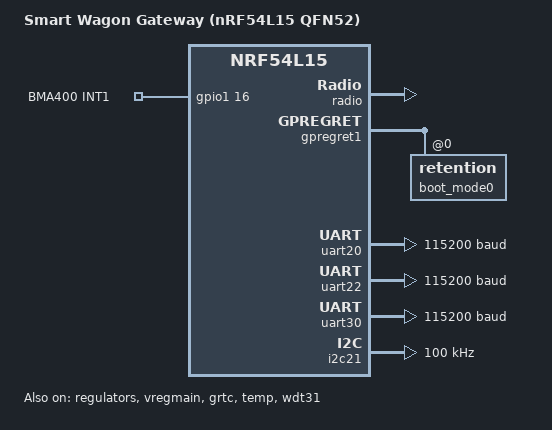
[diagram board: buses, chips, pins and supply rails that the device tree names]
/*
 * Smart Wagon Gateway - nRF54L15 (QFN52) custom board.
 *
 * This board is NOT the nRF54L15 DK. Building against the DK target used to
 * pull in board files that actively fight this hardware:
 *
 *   - mx25r6435f@0 sat on chip-select 0 (the same CS as the W25Q128) and
 *     carried reset-gpios = <&gpio2 0>. On this board P2.00 is SW_AXI, the
 *     BMA400 power rail that RDSO s7.3 requires to stay up - so every boot
 *     pulsed the accelerometer rail via a driver for a flash chip that is not
 *     fitted.
 *   - led0..3 and button0..3 claimed P2.09, P1.10, P2.07, P1.14, P1.13, P1.09,
 *     P1.08 and P0.04 - here those are the level-shifter supply, charger CE,
 *     FRAM_WP, modem PWRKEY, modem RESET, GNSS_PWR_EN, CHG_QON and the memory
 *     rail. Harmless only for as long as nothing enables CONFIG_INPUT or
 *     CONFIG_LED.
 *   - mcuboot-button0 aliased the modem RESET line, so enabling serial
 *     recovery would have made MCUboot sample the EC200U to decide whether to
 *     boot the application.
 *
 * Everything below is checked against the netlist of
 * DOCS/Schematic/1.Main_Gateway_nrf54l15.PDF.
 *
 * SPDX-License-Identifier: Apache-2.0
 */

/dts-v1/;

#include <nordic/nrf54l15_cpuapp.dtsi>
#include <zephyr/dt-bindings/gpio/gpio.h>
#include <zephyr/dt-bindings/regulator/nrf5x.h>
#include "sw_gateway-pinctrl.dtsi"

/ {
	compatible = "macnman,sw-gateway-nrf54l15-cpuapp";
	model = "Smart Wagon Gateway (nRF54L15 QFN52)";

	chosen {
		zephyr,console = &uart20;
		zephyr,shell-uart = &uart20;
		zephyr,flash-controller = &rram_controller;
		zephyr,flash = &cpuapp_rram;
		zephyr,code-partition = &slot0_partition;
		zephyr,sram = &cpuapp_sram;
	};

	aliases {
		watchdog0 = &wdt31;
		/* Point at the CHILD key (it carries the gpios property), not the
		 * gpio-keys parent, so GPIO_DT_SPEC_GET(DT_ALIAS(bma_int), gpios)
		 * resolves. */
		bma-int = &bma_int;
	};

	/*
	 * BMA400 INT1, net BMA_INT -> P1.16. Impact/derailment wake source; it
	 * wakes the CPU out of System ON idle. Expressed as gpio-keys purely to
	 * get a gpios phandle the application can bind to.
	 */
	bma_int_node: bma-int-node {
		compatible = "gpio-keys";

		bma_int: bma_int {
			gpios = <&gpio1 16 GPIO_ACTIVE_HIGH>;
			label = "BMA400 INT1";
		};
	};
};

/*
 * Release P1.02/P1.03 from the NFC antenna function so uart20 can drive the
 * D_TX/D_RX debug header. On nRF54L15 this is a UICR property - the
 * nRF52/nRF53-only CONFIG_NFCT_PINS_AS_GPIOS Kconfig does not exist here.
 */
&uicr {
	nfct-pins-as-gpios;
};

/* NFC hardware stays off: its pins are GPIOs on this board. */
&nfct {
	status = "disabled";
};

&cpuapp_sram {
	status = "okay";
};

/*
 * Crystal loading. Confirmed from the netlist: each of XL1, XL2, XC1 and XC2
 * connects to exactly two nodes - the SoC pin and the crystal pin. There are
 * NO external load capacitors on either crystal, so the SoC's internal
 * capacitors must supply the whole load.
 *
 * TODO(hardware): load-capacitance-femtofarad must equal the CL of the
 * crystals actually fitted (X2 = 32.768 kHz LFXO, X1 = HFXO). The values below
 * are the nRF54L15 DK's and are placeholders. A 32.768 kHz crystal specified
 * for 12.5 pF driven at 17 pF runs slow, which drags every GRTC wake, the BLE
 * timing and the report cadence with it.
 */
&lfxo {
	load-capacitors = "internal";
	load-capacitance-femtofarad = <17000>;
};

&hfxo {
	load-capacitors = "internal";
	load-capacitance-femtofarad = <15000>;
};

/*
 * DCDC is correct here: L1 (4.7 uH) is fitted between DCC (pin 50) and DECD.
 * Do not copy this to a board without that inductor.
 */
&regulators {
	status = "okay";
};

&vregmain {
	status = "okay";
	regulator-initial-mode = <NRF5X_REG_MODE_DCDC>;
};

&grtc {
	owned-channels = <0 1 2 3 4 5 6 7 8 9 10 11>;
	child-owned-channels = <3 4 7 8 9 10 11>;
	status = "okay";
};

&gpio0 { status = "okay"; };
&gpio1 { status = "okay"; };
&gpio2 { status = "okay"; };
&gpiote20 { status = "okay"; };
&gpiote30 { status = "okay"; };
&radio { status = "okay"; };
&clock { status = "okay"; };
&temp { status = "okay"; };

&gpregret1 {
	status = "okay";

	boot_mode0: boot_mode@0 {
		compatible = "zephyr,retention";
		status = "okay";
		reg = <0x0 0x1>;
	};
};

/*
 * Internal watchdog. This board has NO external watchdog (the sub-nodes have a
 * TPL5010), so WDT31 is the only hang recovery. It is disabled in the SoC
 * devicetree, so it must be enabled here or DEVICE_DT_GET(DT_ALIAS(watchdog0))
 * fails to link. See GATEWAY/src/watchdog.c.
 */
&wdt31 {
	status = "okay";
};

/* Console on the debug header. */
&uart20 {
	status = "okay";
	current-speed = <115200>;
	pinctrl-0 = <&uart20_default>;
	pinctrl-1 = <&uart20_sleep>;
	pinctrl-names = "default", "sleep";
};

/* EC200U 4G modem. */
&uart22 {
	status = "okay";
	current-speed = <115200>;
	pinctrl-0 = <&uart22_default>;
	pinctrl-1 = <&uart22_sleep>;
	pinctrl-names = "default", "sleep";
};

/* LC29H GNSS. */
&uart30 {
	status = "okay";
	current-speed = <115200>;
	pinctrl-0 = <&uart30_default>;
	pinctrl-1 = <&uart30_sleep>;
	pinctrl-names = "default", "sleep";
};

/* BMA400 + SHT40 + BQ25798. */
&i2c21 {
	status = "okay";
	clock-frequency = <I2C_BITRATE_STANDARD>;
	pinctrl-0 = <&i2c21_default>;
	pinctrl-1 = <&i2c21_sleep>;
	pinctrl-names = "default", "sleep";
};

/*
 * The external memory bus (W25Q128 NOR + FRAM) is deliberately NOT described
 * here - it lives in GATEWAY/app.overlay.
 *
 * A board .dts is seen by EVERY sysbuild image, MCUboot included. With the NOR
 * here, MCUboot generated a flash-map entry for the 15 MB "archive" partition
 * and failed to link, because the bootloader does not build the SPI-NOR
 * driver. Masking it back out per-image turned out to be worse: naming &nor
 * (or its path) in a sysbuild mcuboot overlay is a hard parse error on any
 * board that lacks the node, which broke the DK target used for bench testing.
 *
 * Keeping the bus in the application overlay resolves both: the bootloader
 * never sees the telemetry archive - which is correct, it has no business
 * touching it - and both board targets build.
 *
 * The DK's mx25r6435f is still gone, which was the point: it sat on the same
 * chip-select as the W25Q128 and drove P2.00 (SW_AXI, the BMA400 rail) as a
 * reset line.
 */

#include <vendor/nordic/nrf54l15_cpuapp_partition.dtsi>
